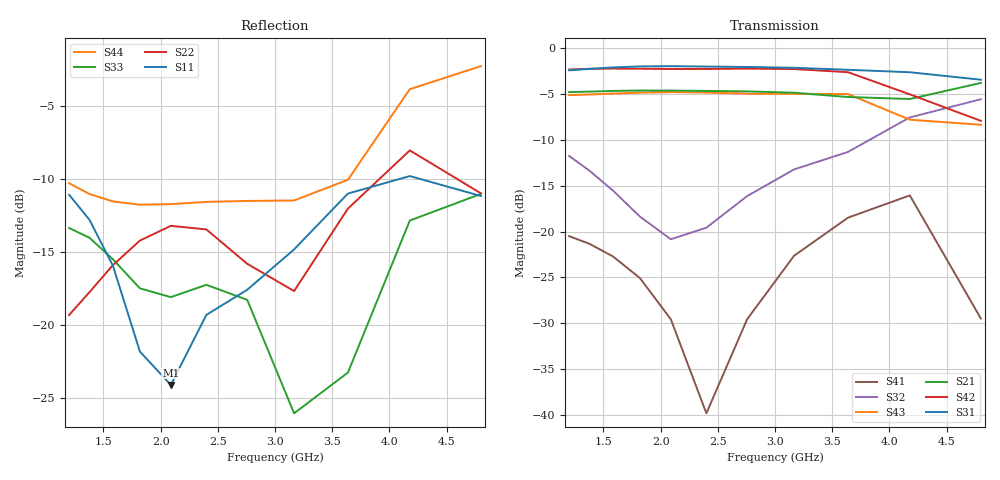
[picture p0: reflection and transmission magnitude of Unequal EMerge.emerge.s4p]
! Generated by circuitRF - EM: EMerge
! circuitRF-EM setup: Unequal EMerge
! circuitRF-EM layout: Unequal.c3d
! circuitRF-EM written: 2026-11-16 00:01:08Z
! circuitRF-EM stamp: 20261116T000108Z-29b65ca3
! circuitRF-EM geometry: f90f63ab0a3107e5
! circuitRF-EM mesh settings: 052857159ca3006f
! circuitRF-EM ports: fadaab484878403c
! circuitRF-EM model: EMerge 3.0.0
! Port[1] = P1
! Port[2] = P2
! Port[3] = P3
! Port[4] = R1
! circuitRF-EM port 1: 'port/1' from 'U1/Bottom Copper (1 oz)/1' to 'U1/Top Copper (1 oz)/1', lumped, 50 Ohm
! circuitRF-EM port 2: 'port/2' from 'U1/Bottom Copper (1 oz)/1' to 'U1/Top Copper (1 oz)/1', lumped, 50 Ohm
! circuitRF-EM port 3: 'port/3' from 'U1/Bottom Copper (1 oz)/1' to 'U1/Top Copper (1 oz)/1', lumped, 50 Ohm
! circuitRF-EM port 4: 'port/4' from 'U1/Top Copper (1 oz)/1' to 'U1/Top Copper (1 oz)/1', lumped, 50 Ohm
! Port 1 = P01  P1  net=?  ref=U1/Bottom Copper (1 oz)/1  uncalibrated
! Port 2 = P02  P2  net=?  ref=U1/Bottom Copper (1 oz)/1  uncalibrated
! Port 3 = P03  P3  net=?  ref=U1/Bottom Copper (1 oz)/1  uncalibrated
! Port 4 = P04  R1  net=?  ref=U1/Top Copper (1 oz)/1  uncalibrated
! DC: none, the lowest row is 1.2 GHz; a circuit's DC solve through this file takes that row as DC
! circuitRF-EM 3D mesh: 13349 tetrahedra, element order 2
! circuitRF-EM 3D operating temperature: 20 C
! circuitRF-EM 3D run: preset Draft; 13349 tetrahedra; 96146 unknowns; adaptive sweep, 12 frequency sample(s), estimated error 0.000698
! circuitRF-EM 3D run cost: wall 34 s; EMerge peak memory 2.0 GB
! circuitRF-EM: re-running the EM setup rewrites this file. If circuitRF reports it as stale, the layout's cross-section changed after this file was written.
# GHz S RI R 50
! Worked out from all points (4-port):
!   11 points, 1.2 GHz to 4.8 GHz, reference 50 ohm
!   strongest paths, dB at 1.2 GHz, 1.583 GHz, 2.4 GHz, 3.638 GHz, 4.8 GHz:
!     S31: -2.5, -2.2, -2.1, -2.4, -3.5
!     S42: -2.4, -2.3, -2.3, -2.7, -8.0
!     S21: -4.8, -4.7, -4.7, -5.4, -3.8
!     S43: -5.2, -5.0, -4.9, -5.1, -8.4
!     S32: -11.8, -15.5, -19.6, -11.3, -5.6
!     S41: -20.5, -22.7, -39.8, -18.5, -29.5
!   lowest |S11| = -24.1 dB at 2.089 GHz (marker M1), VSWR 1.13, Z = 44.4 + j1.98 ohm
!   |S11| at or under -10 dB: start of sweep to 4.074 GHz; 4.285 GHz to end of sweep
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1.2  -0.1517 0.2357  -0.4216 -0.388  -0.509 -0.5543  0.0281 0.0901
     -0.4216 -0.3881  0.1084 0.00628  -0.2574 0.00808  0.3799 -0.6582
     -0.5089 -0.5544  -0.2574 0.00808  -0.06 0.2071  -0.2616 0.4859
     0.0284 0.09  0.3777 -0.6595  -0.26 0.4867  0.2207 0.2132
2.089321  -0.0584 0.0222  -0.3041 0.4987  -0.4254 0.669  0.0255 -0.0215
          -0.3043 0.4986  -0.0187 -0.2186  -0.00685 0.0905  -0.4509 -0.6183
          -0.4256 0.6689  -0.00685 0.0905  0.0343 -0.1202  0.3324 0.4666
          0.0254 -0.0216  -0.4545 -0.6156  0.3351 0.4646  0.2517 0.0664
2.4  -0.1075 0.0155  0.0435 0.5796  0.0577 0.7869  -0.0066 -0.00786
     0.0433 0.5796  -0.1193 -0.1767  0.0114 0.1043  -0.648 -0.4079
     0.0574 0.7869  0.0114 0.1043  -0.1052 -0.0889  0.4811 0.3056
     -0.00665 -0.00782  -0.6506 -0.4036  0.4831 0.3023  0.2649 0.00297
3.166819  -0.1804 0.0253  0.5677 -0.0285  0.7747 -0.0577  0.0513 0.0531
          0.5678 -0.0282  -0.0926 -0.0929  0.2175 -0.009  -0.6994 0.3102
          0.7748 -0.0573  0.2174 -0.00899  0.005 0.0497  0.5235 -0.2008
          0.0518 0.0526  -0.6964 0.3162  0.5215 -0.2054  0.1657 -0.2105
3.63772  -0.2459 0.14  0.2998 -0.4476  0.3861 -0.6518  0.1163 -0.0249
         0.3001 -0.4475  -0.2112 -0.1361  0.1338 -0.2355  -0.3413 0.6517
         0.3865 -0.6517  0.1338 -0.2354  -0.048 -0.0495  0.2922 -0.477
         0.116 -0.026  -0.3345 0.6548  0.2872 -0.4797  -0.0445 -0.3124
4.178643  -0.1149 0.3038  -0.1817 -0.4929  -0.4034 -0.614  -0.00295 -0.1572
          -0.1814 -0.4931  -0.2885 0.2737  -0.197 -0.3679  0.3073 0.4653
          -0.403 -0.6144  -0.197 -0.3679  -0.0575 0.2213  -0.2091 -0.3479
          -0.00473 -0.1571  0.3125 0.4613  -0.213 -0.3451  -0.6231 -0.1657
4.8  0.1384 0.2406  -0.6388 0.0687  -0.6614 0.1001  -0.0128 -0.0311
     -0.639 0.0683  0.218 -0.1813  -0.2912 0.4357  -0.141 0.3741
     -0.6616 0.0996  -0.2912 0.4356  0.2272 -0.1673  0.0847 -0.3713
     -0.0132 -0.0309  -0.136 0.3759  0.0798 -0.3723  0.0208 0.7727
